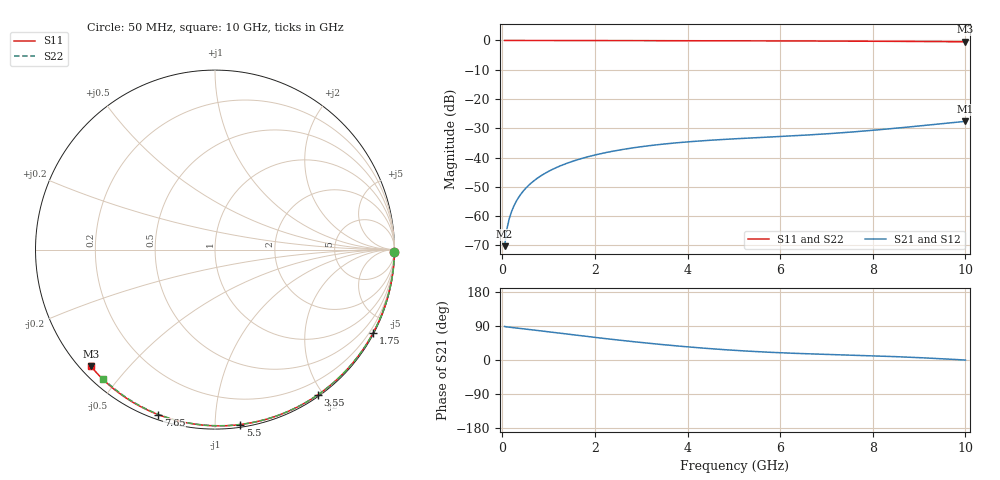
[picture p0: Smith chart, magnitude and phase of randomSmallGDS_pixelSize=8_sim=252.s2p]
! freq	dB(S11)	phase(S11)	dB(S12)	phase(S12)
!  dB(S21)	phase(S21)	dB(S22)	phase(S22)
!S-par simulation data
#  GHz  S  DB  R 50
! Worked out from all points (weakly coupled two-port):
!   200 points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, 50 MHz to 10 GHz, reference 50 ohm
!   highest |S21| = -27.63 dB at 10 GHz (marker M1); lowest = -70.3 dB at 50 MHz (marker M2)
!   lowest |S11| = -0.5 dB at 10 GHz (marker M3), VSWR 38.21, Z = 1.51 - j19.8 ohm
!   |S11| at or under -10 dB: nowhere
!   |S22| runs from -0.4 to 0.0 dB; largest |S21 - S12| = 0
!   S11 on the Smith chart (normalised r, x): 50 MHz: open; 1.75 GHz: 0.04, -4.06; 3.55 GHz: 0.02, -1.93; 5.5 GHz: 0.02, -1.16; 7.65 GHz: 0.02, -0.71; 10 GHz: 0.03, -0.40
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0.05  -0.00 -0.8  -70.27 88.4  -70.27 88.4  -0.00 -0.8
0.1  -0.00 -1.6  -64.34 87.3  -64.34 87.3  -0.00 -1.5
0.15  -0.00 -2.4  -60.90 86.5  -60.90 86.5  -0.00 -2.3
0.2  -0.00 -3.2  -58.45 85.8  -58.45 85.8  -0.00 -3.1
0.25  -0.00 -4.0  -56.54 85.2  -56.54 85.2  -0.00 -3.8
0.35  -0.00 -5.6  -53.66 83.8  -53.66 83.8  -0.00 -5.4
0.5  -0.01 -8.0  -50.60 81.7  -50.60 81.7  -0.01 -7.7
0.7  -0.01 -11.2  -47.72 78.7  -47.72 78.7  -0.01 -10.7
1  -0.02 -15.9  -44.70 74.3  -44.70 74.3  -0.02 -15.2
1.35  -0.03 -21.4  -42.22 69.0  -42.22 69.0  -0.03 -20.5
1.75  -0.04 -27.6  -40.15 63.2  -40.15 63.2  -0.03 -26.4
2.5  -0.05 -39.1  -37.50 52.7  -37.50 52.7  -0.05 -37.4
3.4  -0.07 -52.5  -35.53 41.3  -35.53 41.3  -0.07 -50.2
3.55  -0.07 -54.7  -35.28 39.6  -35.28 39.6  -0.07 -52.3
4.3  -0.09 -65.4  -34.29 31.7  -34.29 31.7  -0.09 -62.6
5.05  -0.12 -75.7  -33.57 25.2  -33.57 25.2  -0.11 -72.5
5.5  -0.13 -81.8  -33.20 22.1  -33.20 22.1  -0.13 -78.3
6.7  -0.19 -97.3  -32.19 16.0  -32.19 16.0  -0.18 -93.2
7.65  -0.24 -109.0  -31.15 12.4  -31.15 12.4  -0.23 -104.5
8.35  -0.30 -117.4  -30.20 9.5  -30.20 9.5  -0.28 -112.5
9.2  -0.37 -127.5  -28.90 5.1  -28.90 5.1  -0.35 -122.1
10  -0.45 -136.8  -27.63 -0.1  -27.63 -0.1  -0.43 -130.9
